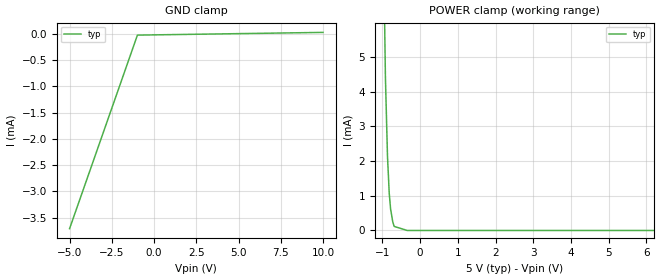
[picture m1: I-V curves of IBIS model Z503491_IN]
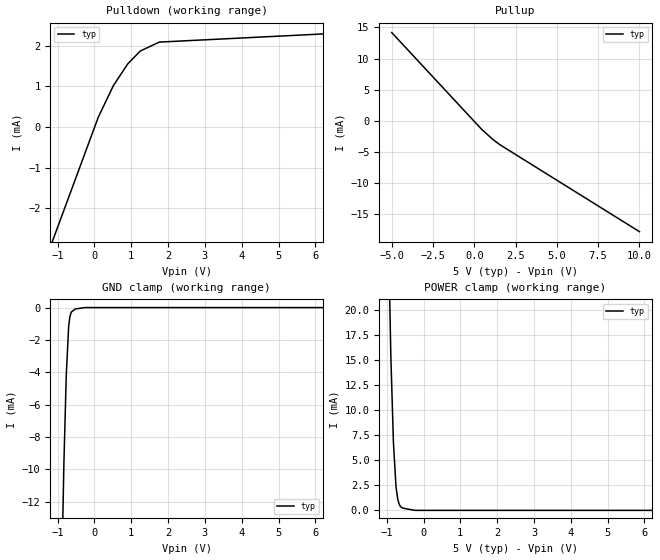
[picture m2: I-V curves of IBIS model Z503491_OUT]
| YOU ARE ONLY AUTHORIZED TO USE THIS SOFTWARE
| ACCORDING TO LICENSOR'S LICENSE RESTRICTIONS.
[IBIS Ver] 3.1
[File Name] mc14020bcl.ibs
[File Rev] 2.0
[Source] Measured and created by ICX Technology
[Date] Friday 7/14/00 9:07:51 AM
[Copyright]
| (C) COPYRIGHT 1993-2000
| MENTOR GRAPHICS CORPORATION
| ICX STANDARD LIBRARY, ICX PROJECT MODELING,
| ICX CUSTOM MODELING, ICX VENDOR MODEL
| ALL RIGHTS RESERVED.
| THE FOLLOWING ARE TRADEMARKS OR SERVICE MARKS OF
| MENTOR GRAPHICS CORPORATION:ICX (R), ICX STANDARD
| LIBRARY(R), ICX PROJECT MODELING(R), ICX CUSTOM
| MODELING(R), qualityIBIS(TM), MODELVIEWER(TM),
| AND MODELEDITOR(TM)
| ALL COPIES OF SOFTWARE, INCLUDING BUT NOT LIMITED TO
| ANY MODIFICATIONS, ENHANCEMENTS OR DERIVATIVE WORKS,
| MUST CONTAIN ALL MENTOR GRAPHICS CORPORATION'S
| NOTICES AND LEGENDS, INCLUDING THOSE EMBEDDED IN
| SOFTWARE AND THOSE AFFIXED TO SOFTWARE MEDIUM
| AND CONTAINER, AS RECEIVED FROM MENTOR GRAPHICS
| CORPORATION.
|  ZAP Model Builder 2.7
[Component] MC14020BCL
[Manufacturer] OnSemiconductor
[Package]
| variable   typ   min   max
R_pkg  .212ohms NA NA
L_pkg  4.758nH NA NA
C_pkg  1.944pF NA NA
[Pin] signal_name  model_name  R_pin  L_pin C_pin
1 Q12 Z503491_OUT .224 7.258n 2.683p
2 Q13 Z503491_OUT .216 5.258n 2.19p
3 Q Z503491_OUT .208 3.758n 1.697p
4 Q6 Z503491_OUT .2 2.758n 1.204p
5 Q5 Z503491_OUT .2 2.758n 1.204p
6 Q7 Z503491_OUT .208 3.758n 1.697p
7 Q4 Z503491_OUT .216 5.258n 2.19p
8 VSS GND .224 7.258n 2.683p
9 Q1 Z503491_OUT .224 7.258n 2.683p
10 C Z503491_IN .216 5.258n 2.19p
11 R_INT Z503491_IN .208 3.758n 1.697p
12 Q9 Z503491_OUT .2 2.758n 1.204p
13 Q8 Z503491_OUT .2 2.758n 1.204p
14 Q10 Z503491_OUT .208 3.758n 1.697p
15 Q11 Z503491_OUT .216 5.258n 2.19p
16 VDD POWER .224 7.258n 2.683p
| Models and submodels in the file (2): Z503491_IN (Input), Z503491_OUT (Output)
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| (C) COPYRIGHT 1993-2000
| MENTOR GRAPHICS CORPORATION
| ICX STANDARD LIBRARY, ICX PROJECT MODELING,
| ICX CUSTOM MODELING, ICX VENDOR MODEL
| ALL RIGHTS RESERVED.
| THE FOLLOWING ARE TRADEMARKS OR SERVICE MARKS OF
| MENTOR GRAPHICS CORPORATION:ICX (R), ICX STANDARD
| LIBRARY(R), ICX PROJECT MODELING(R), ICX CUSTOM
| MODELING(R), qualityIBIS(TM), MODELVIEWER(TM),
| AND MODELEDITOR(TM)
| ALL COPIES OF SOFTWARE, INCLUDING BUT NOT LIMITED TO
| ANY MODIFICATIONS, ENHANCEMENTS OR DERIVATIVE WORKS,
| MUST CONTAIN ALL MENTOR GRAPHICS CORPORATION'S
| NOTICES AND LEGENDS, INCLUDING THOSE EMBEDDED IN
| SOFTWARE AND THOSE AFFIXED TO SOFTWARE MEDIUM
| AND CONTAINER, AS RECEIVED FROM MENTOR GRAPHICS
| CORPORATION.
| Model Application Version 1.89 2/18/99.
[Model] Z503491_IN
Model_type Input
Vinl = 1.500V
Vinh = 3.500V
C_comp 4.000pF NA NA
| variable typ   min   max
[Voltage Range] 5.000V NA NA
[GND Clamp Reference] 0.000V NA NA
[POWER Clamp Reference] 5.000V NA NA
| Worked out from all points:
|   POWER clamp passes 1 mA (typ) near -0.81 V on its own axis
[GND Clamp]
-5V       -3.708mA   NA         NA
-985mV    -26.28uA   NA         NA
10V       25.52uA    NA         NA
[POWER Clamp]
-5V       661.5mA    NA         NA
-1.196V   32.86mA    NA         NA
-1.035V   13.1mA     NA         NA
-922mV    4.428mA    NA         NA
-867mV    2.146mA    NA         NA
-820mV    1.064mA    NA         NA
-784mV    615.8uA    NA         NA
-725mV    238.4uA    NA         NA
-688mV    116.7uA    NA         NA
-344mV    0A         NA         NA
10V       0A         NA         NA
| (C) COPYRIGHT 1993-2000
| MENTOR GRAPHICS CORPORATION
| ICX STANDARD LIBRARY, ICX PROJECT MODELING,
| ICX CUSTOM MODELING, ICX VENDOR MODEL
| ALL RIGHTS RESERVED.
| THE FOLLOWING ARE TRADEMARKS OR SERVICE MARKS OF
| MENTOR GRAPHICS CORPORATION:ICX (R), ICX STANDARD
| LIBRARY(R), ICX PROJECT MODELING(R), ICX CUSTOM
| MODELING(R), qualityIBIS(TM), MODELVIEWER(TM),
| AND MODELEDITOR(TM)
| ALL COPIES OF SOFTWARE, INCLUDING BUT NOT LIMITED TO
| ANY MODIFICATIONS, ENHANCEMENTS OR DERIVATIVE WORKS,
| MUST CONTAIN ALL MENTOR GRAPHICS CORPORATION'S
| NOTICES AND LEGENDS, INCLUDING THOSE EMBEDDED IN
| SOFTWARE AND THOSE AFFIXED TO SOFTWARE MEDIUM
| AND CONTAINER, AS RECEIVED FROM MENTOR GRAPHICS
| CORPORATION.
| Model Application Version 1.89 2/18/99.
[Model] Z503491_OUT
Model_type Output
Vref=0.000V
Rref=500.0Mohms
Cref=50.00pF
Vmeas=2.500V
C_comp 8.000pF NA NA
| variable typ   min   max
[Voltage Range] 5.000V NA NA
[POWER Clamp Reference] 5.000V NA NA
[Pullup Reference] 5.000V NA NA
[Pulldown Reference] 0.000V NA NA
[GND Clamp Reference] 0.000V NA NA
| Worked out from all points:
|   slope of the pulldown table from 0 to 0.75 V, typ, clamps not added: 553 ohm
|   slope of the pullup table from 0 to 0.75 V, typ, clamps not added: 375 ohm
|   GND clamp passes 1 mA (typ) near -0.69 V on its own axis
|   POWER clamp passes 1 mA (typ) near -0.69 V on its own axis
[GND Clamp]
-5V       -497.6mA   NA         NA
-830.1mV  -9.648mA   NA         NA
-766.3mV  -4.205mA   NA         NA
-700.6mV  -1.153mA   NA         NA
-664.1mV  -532uA     NA         NA
-626.3mV  -269.7uA   NA         NA
-517.3mV  -85.22uA   NA         NA
-258.7mV  0A         NA         NA
10V       0A         NA         NA
[Pulldown]
-5V       -12.29mA   NA         NA
104.9mV   242.1uA    NA         NA
517.3mV   1.024mA    NA         NA
908.3mV   1.558mA    NA         NA
1.246V    1.871mA    NA         NA
1.76V     2.09mA     NA         NA
10V       2.462mA    NA         NA
[Pullup]
-5V       14.18mA    NA         NA
450mV     -1.383mA   NA         NA
1.152V    -3.052mA   NA         NA
1.544V    -3.831mA   NA         NA
10V       -17.81mA   NA         NA
[POWER Clamp]
-5V       794.6mA    NA         NA
-888mV    15.57mA    NA         NA
-817mV    6.79mA     NA         NA
-747mV    2.357mA    NA         NA
-698mV    1.096mA    NA         NA
-664mV    648.8uA    NA         NA
-630mV    401.9uA    NA         NA
-575mV    239.9uA    NA         NA
-439mV    134.2uA    NA         NA
-219.5mV  0A         NA         NA
10V       0A         NA         NA
[Ramp]
| variable typ min max
dV/dt_r 2.632/19.46n NA NA
dV/dt_f 2.632/21.82n NA NA
R_load = 2.500kOhms
